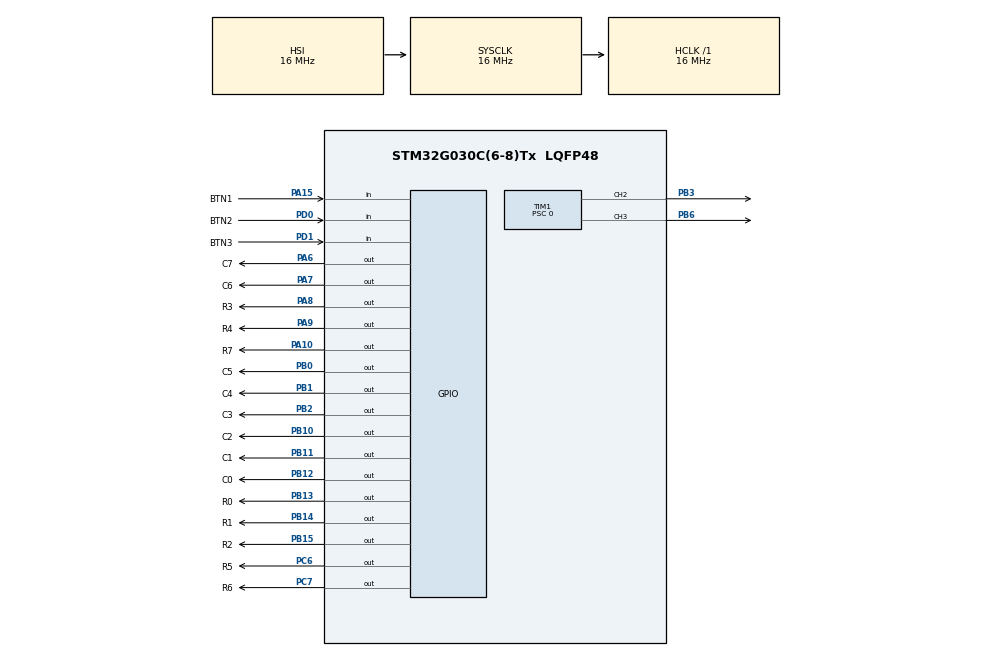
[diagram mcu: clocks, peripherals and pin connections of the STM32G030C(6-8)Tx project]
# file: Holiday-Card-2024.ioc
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ADC1.Channel-0\#ChannelRegularConversion=ADC_CHANNEL_VREFINT
ADC1.NbrOfConversionFlag=1
ADC1.Rank-0\#ChannelRegularConversion=1
ADC1.SamplingTime-0\#ChannelRegularConversion=ADC_SAMPLINGTIME_COMMON_1
ADC1.SamplingTimeCommon1=ADC_SAMPLETIME_39CYCLES_5
ADC1.SamplingTimeCommon2=ADC_SAMPLETIME_39CYCLES_5
ADC1.SelectedChannel=ADC_CHANNEL_VREFINT
ADC1.master=1
Mcu.Family=STM32G0
Mcu.Name=STM32G030C(6-8)Tx
Mcu.Package=LQFP48
NVIC.ADC1_IRQn=true\:0\:0\:false\:false\:true\:true\:true\:true
NVIC.TIM14_IRQn=true\:0\:0\:false\:false\:true\:true\:true\:true
NVIC.TIM16_IRQn=true\:0\:0\:false\:false\:true\:true\:true\:true
NVIC.TIM3_IRQn=true\:0\:0\:false\:false\:true\:true\:true\:true
PA10.GPIO_Label=R7
PA10.Signal=GPIO_Output
PA13.Mode=Serial_Wire
PA13.Signal=SYS_SWDIO
PA14-BOOT0.Mode=Serial_Wire
PA14-BOOT0.Signal=SYS_SWCLK
PA15.GPIO_Label=BTN1
PA15.Signal=GPIO_Input
PA4.GPIO_Label=BUZZ
PA4.Signal=S_TIM14_CH1
PA6.GPIO_Label=C7
PA6.Signal=GPIO_Output
PA7.GPIO_Label=C6
PA7.Signal=GPIO_Output
PA8.GPIO_Label=R3
PA8.Signal=GPIO_Output
PA9.GPIO_Label=R4
PA9.Signal=GPIO_Output
PB0.GPIO_Label=C5
PB0.Signal=GPIO_Output
PB1.GPIO_Label=C4
PB1.Signal=GPIO_Output
PB10.GPIO_Label=C2
PB10.Signal=GPIO_Output
PB11.GPIO_Label=C1
PB11.Signal=GPIO_Output
PB12.GPIO_Label=C0
PB12.Signal=GPIO_Output
PB13.GPIO_Label=R0
PB13.Signal=GPIO_Output
PB14.GPIO_Label=R1
PB14.Signal=GPIO_Output
PB15.GPIO_Label=R2
PB15.Signal=GPIO_Output
PB2.GPIO_Label=C3
PB2.Signal=GPIO_Output
PB3.Signal=S_TIM1_CH2
PB5.GPIO_Label=BTN2_WKUP
PB5.Mode=SYS_WakeUp6
PB5.Signal=SYS_WKUP6
PB6.Signal=S_TIM1_CH3
PC14-OSC32_IN\ (PC14).Mode=LSE-External-Oscillator
PC14-OSC32_IN\ (PC14).Signal=RCC_OSC32_IN
PC15-OSC32_OUT\ (PC15).Mode=LSE-External-Oscillator
PC15-OSC32_OUT\ (PC15).Signal=RCC_OSC32_OUT
PC6.GPIO_Label=R5
PC6.Signal=GPIO_Output
PC7.GPIO_Label=R6
PC7.Signal=GPIO_Output
PD0.GPIO_Label=BTN2
PD0.Signal=GPIO_Input
PD1.GPIO_Label=BTN3
PD1.Signal=GPIO_Input
ProjectManager.HeapSize=0x200
ProjectManager.StackSize=0x400
ProjectManager.TargetToolchain=STM32CubeIDE
RCC.ADCFreq_Value=16000000
RCC.AHBFreq_Value=16000000
RCC.CortexFreq_Value=16000000
RCC.EXTERNAL_CLOCK_VALUE=12288000
RCC.HCLKFreq_Value=16000000
RCC.HSE_VALUE=8000000
RCC.HSI_VALUE=16000000
RCC.RTCClockSelection=RCC_RTCCLKSOURCE_LSE
RCC.SYSCLKFreq_VALUE=16000000
RCC.VCOOutputFreq_Value=128000000
SH.S_TIM14_CH1.0=TIM14_CH1
SH.S_TIM1_CH2.0=TIM1_CH2,PWM Generation2 CH2
SH.S_TIM1_CH3.0=TIM1_CH3,PWM Generation3 CH3
TIM1.AutoReloadPreload=TIM_AUTORELOAD_PRELOAD_ENABLE
TIM1.Channel-PWM\ Generation2\ CH2=TIM_CHANNEL_2
TIM1.Channel-PWM\ Generation3\ CH3=TIM_CHANNEL_3
TIM1.OCMode_PWM-PWM\ Generation2\ CH2=TIM_OCMODE_PWM1
TIM1.OCPolarity_3=TIM_OCPOLARITY_LOW
TIM1.Period=4000
TIM1.Prescaler=0
TIM1.Pulse-PWM\ Generation2\ CH2=2000
TIM1.Pulse-PWM\ Generation3\ CH3=2000
TIM14.Channel=TIM_CHANNEL_1
TIM14.OCMode_1=TIM_OCMODE_TIMING
TIM14.Period=416 - 1
TIM14.Prescaler=1600 - 1
TIM16.Prescaler=16000 - 1
TIM3.Channel-Output\ Compare1\ No\ Output=TIM_CHANNEL_1
TIM3.Period=41 - 1
TIM3.Prescaler=16 - 1
VP_ADC1_Vref_Input.Mode=IN-Vrefint
VP_RTC_VS_RTC_Activate.Mode=RTC_Enabled
VP_RTC_VS_RTC_Calendar.Mode=RTC_Calendar
VP_TIM14_VS_ClockSourceINT.Mode=Enable_Timer
VP_TIM14_VS_no_output1.Mode=Output Compare1 No Output
VP_TIM16_VS_ClockSourceINT.Mode=Enable_Timer
VP_TIM1_VS_ClockSourceINT.Mode=Internal
VP_TIM3_VS_ClockSourceINT.Mode=Internal
VP_TIM3_VS_no_output1.Mode=Output Compare1 No Output
board=custom

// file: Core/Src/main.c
/* USER CODE BEGIN Header */
/**
  ******************************************************************************
  * @file           : main.c
  * @brief          : Main program body
  ******************************************************************************
  * @attention
  *
  * Copyright (c) 2024 STMicroelectronics.
  * All rights reserved.
  *
  * This software is licensed under terms that can be found in the LICENSE file
  * in the root directory of this software component.
  * If no LICENSE file comes with this software, it is provided AS-IS.
  *
  ******************************************************************************
  */
/* USER CODE END Header */
#include "main.h"

/* USER CODE BEGIN Includes */
#include "buzzer.h"
#include "display.h"
/* USER CODE END Includes */

/* USER CODE BEGIN PD */
#define NOTE_B0  31
#define NOTE_C1  33
#define NOTE_CS1 35
#define NOTE_D1  37
#define NOTE_DS1 39
#define NOTE_E1  41
#define NOTE_F1  44
#define NOTE_FS1 46
#define NOTE_G1  49
#define NOTE_GS1 52
#define NOTE_A1  55
#define NOTE_AS1 58
#define NOTE_B1  62
#define NOTE_C2  65
#define NOTE_CS2 69
#define NOTE_D2  73
#define NOTE_DS2 78
#define NOTE_E2  82
#define NOTE_F2  87
#define NOTE_FS2 93
#define NOTE_G2  98
#define NOTE_GS2 104
#define NOTE_A2  110
#define NOTE_AS2 117
#define NOTE_B2  123
#define NOTE_C3  131
#define NOTE_CS3 139
#define NOTE_D3  147
#define NOTE_DS3 156
#define NOTE_E3  165
#define NOTE_F3  175
#define NOTE_FS3 185
#define NOTE_G3  196
#define NOTE_GS3 208
#define NOTE_A3  220
#define NOTE_AS3 233
#define NOTE_B3  247
#define NOTE_C4  262
#define NOTE_CS4 277
#define NOTE_D4  294
#define NOTE_DS4 311
#define NOTE_E4  330
#define NOTE_F4  349
#define NOTE_FS4 370
#define NOTE_G4  392
#define NOTE_GS4 415
#define NOTE_A4  440
#define NOTE_AS4 466
#define NOTE_B4  494
#define NOTE_C5  523
#define NOTE_CS5 554
#define NOTE_D5  587
#define NOTE_DS5 622
#define NOTE_E5  659
#define NOTE_F5  698
#define NOTE_FS5 740
#define NOTE_G5  784
#define NOTE_GS5 831
#define NOTE_A5  880
#define NOTE_AS5 932
#define NOTE_B5  988
#define NOTE_C6  1047
#define NOTE_CS6 1109
#define NOTE_D6  1175
#define NOTE_DS6 1245
#define NOTE_E6  1319
#define NOTE_F6  1397
#define NOTE_FS6 1480
#define NOTE_G6  1568
#define NOTE_GS6 1661
#define NOTE_A6  1760
#define NOTE_AS6 1865
#define NOTE_B6  1976
#define NOTE_C7  2093
#define NOTE_CS7 2217
#define NOTE_D7  2349
#define NOTE_DS7 2489
#define NOTE_E7  2637
#define NOTE_F7  2794
#define NOTE_FS7 2960
#define NOTE_G7  3136
#define NOTE_GS7 3322
#define NOTE_A7  3520
#define NOTE_AS7 3729
#define NOTE_B7  3951
#define NOTE_C8  4186
#define NOTE_CS8 4435
#define NOTE_D8  4699
#define NOTE_DS8 4978

//#define noteSpace 24
//#define noteSpace2 12
//#define _16thNote 110
//#define dotted16th 165
//#define _8thNote 220
//#define dotted8th 330
#define _4thNote 440
#define dotted4th 660
#define halfNote 880
#define dottedHalf 1320
#define wholeNote 1760

#define noteSpace 12
#define noteSpace2 6
#define _16thNote 55
#define dotted16th 83
#define _8thNote 110
#define dotted8th 165

/* USER CODE END PD */

ADC_HandleTypeDef hadc1;

RTC_HandleTypeDef hrtc;

TIM_HandleTypeDef htim1;
TIM_HandleTypeDef htim3;
TIM_HandleTypeDef htim14;
TIM_HandleTypeDef htim16;

void SystemClock_Config(void);
static void MX_GPIO_Init(void);
static void MX_RTC_Init(void);
static void MX_TIM14_Init(void);
static void MX_TIM16_Init(void);
static void MX_TIM1_Init(void);
static void MX_ADC1_Init(void);
static void MX_TIM3_Init(void);
/* USER CODE BEGIN PFP */
void writeLED(uint8_t LED, uint8_t state);
/* USER CODE END PFP */

/* USER CODE BEGIN 0 */

uint8_t LED_index = 0;

//static const uint8_t smiley[64] = {
//0, 0, 0, 0, 0, 0, 0, 0,
//0, 0, 1, 0, 0, 1, 0, 0,
//0, 0, 1, 0, 0, 1, 0, 0,
//0, 0, 0, 0, 0, 0, 0, 0,
//0, 0, 0, 0, 0, 0, 0, 0,
//1, 0, 0, 0, 0, 0, 0, 1,
//0, 1, 1, 1, 1, 1, 1, 0,
//0, 0, 0, 0, 0, 0, 0, 0
//};
//

//Easy way to see if data being processed properly
static const uint32_t rows_test[8] = {
0xFFFFFFFF,
0x0,
0xFFFFFFFF,
0x0,
0xFFFFFFFF,
0x0,
0xFFFFFFFF,
0x0,
};

//static const uint32_t cross_test[64] = {
//1, 0, 0, 0, 0, 0, 0, 1,
//0, 1, 0, 0, 0, 0, 1, 0,
//0, 0, 1, 0, 0, 1, 0, 0,
//0, 0, 0, 1, 1, 0, 0, 0,
//0, 0, 0, 1, 1, 0, 0, 0,
//0, 0, 1, 0, 0, 1, 0, 0,
//0, 1, 0, 0, 0, 0, 1, 0,
//1, 0, 0, 0, 0, 0, 0, 1
//};
//
//static const uint8_t all_on[64] = {
//1, 1, 1, 1, 1, 1, 1, 1,
//1, 1, 1, 1, 1, 1, 1, 1,
//1, 1, 1, 1, 1, 1, 1, 1,
//1, 1, 1, 1, 1, 1, 1, 1,
//1, 1, 1, 1, 1, 1, 1, 1,
//1, 1, 1, 1, 1, 1, 1, 1,
//1, 1, 1, 1, 1, 1, 1, 1,
//1, 1, 1, 1, 1, 1, 1, 1
//};

display_HandleTypeDef display;
buzzer_HandleTypeDef buzzer;
//2D array, frequency and duration

uint16_t darude_bassline[][2] = {
		{ NOTE_B2, dotted8th }, { 0, dotted8th + noteSpace },
		{ NOTE_B2, dotted8th }, { 0, dotted8th + noteSpace },
		{ NOTE_B2, _8thNote }, { 0, _8thNote + noteSpace },
		{ NOTE_B2, dotted8th}, { 0, dotted8th + noteSpace },
		{ NOTE_B2, dotted8th}, { 0, dotted8th + noteSpace },
		{ NOTE_E3, _8thNote }, { 0, _8thNote + noteSpace},
		{ NOTE_E3, dotted8th }, { 0, dotted8th + noteSpace },
		{ NOTE_E3, dotted8th }, { 0, dotted8th + noteSpace },
		{ NOTE_D3, _8thNote }, { 0, _8thNote + noteSpace},
		{ NOTE_D3, dotted8th }, { 0, dotted8th + noteSpace},
		{ NOTE_D3, dotted8th }, { 0, dotted8th + noteSpace},
		{ NOTE_A2, _8thNote }, { 0, _8thNote + noteSpace},
		{ NOTE_B2, dotted8th }, { 0, dotted8th + noteSpace},
		{ NOTE_B2, dotted8th }, { 0, dotted8th + noteSpace},
		{ NOTE_B2, _8thNote }, { 0, _8thNote + noteSpace},
		{ NOTE_B2, dotted8th }, { 0, dotted8th + noteSpace},
		{ NOTE_B2, dotted8th }, { 0, dotted8th + noteSpace},
		{ NOTE_E3, _8thNote }, { 0, _8thNote + noteSpace},
		{ NOTE_B2, dotted8th }, { 0, dotted8th + noteSpace},
		{ NOTE_B2, dotted8th }, { 0, dotted8th + noteSpace},
		{ NOTE_B2, _8thNote }, { 0, _8thNote + noteSpace},
		{ NOTE_B2, dotted8th }, { 0, dotted8th + noteSpace},
		{ NOTE_B2, dotted8th }, { 0, dotted8th + noteSpace},
		{ NOTE_D4, _8thNote }, { 0, _8thNote + noteSpace},
};

uint16_t darude_drop[][2] = {
		{ NOTE_B4, _16thNote }, { 0, _16thNote + noteSpace2 },
		{ NOTE_B4, _16thNote }, { 0, _16thNote + noteSpace2 },
		{ NOTE_B4, _16thNote }, { 0, _16thNote + noteSpace2 },
		{ NOTE_B4, _16thNote }, { 0, _16thNote + noteSpace2 },
		{ NOTE_B4, _8thNote}, { 0, _8thNote + noteSpace2 },
		{ NOTE_B2, _8thNote}, { 0, _8thNote + noteSpace },
		{ NOTE_B2, dotted8th }, { 0, dotted8th + noteSpace},
		{ NOTE_B2, dotted8th }, { 0, dotted8th + noteSpace},
		{ NOTE_E3, _8thNote }, { 0, _8thNote + noteSpace },
		{ NOTE_E3, dotted8th }, { 0, dotted8th + noteSpace},
		{ NOTE_E3, dotted8th }, { 0, dotted8th + noteSpace},
		{ NOTE_D3, _8thNote }, { 0, _8thNote + noteSpace},
		{ NOTE_D3, dotted8th }, { 0, dotted8th + noteSpace},
		{ NOTE_D3, dotted8th }, { 0, dotted8th + noteSpace},
		{ NOTE_A2, _8thNote }, { 0, _8thNote + noteSpace},
};
/*

tone(7,nA2,_8thNote);
delay(_8thNote + noteSpace);
*/

/* USER CODE END 0 */

int main(void)
{

  /* MCU Configuration--------------------------------------------------------*/

  /* Reset of all peripherals, Initializes the Flash interface and the Systick. */
  HAL_Init();

  /* Configure the system clock */
  SystemClock_Config();

  /* Initialize all configured peripherals */
  MX_GPIO_Init();
  MX_RTC_Init();
  MX_TIM14_Init();
  MX_TIM16_Init();
  MX_TIM1_Init();
  MX_ADC1_Init();
  MX_TIM3_Init();
  /* USER CODE BEGIN 2 */
  HAL_GPIO_WritePin(R0_GPIO_Port, R0_Pin, 1);
  HAL_GPIO_WritePin(R1_GPIO_Port, R1_Pin, 1);
  HAL_GPIO_WritePin(R2_GPIO_Port, R2_Pin, 1);
  HAL_GPIO_WritePin(R3_GPIO_Port, R3_Pin, 1);
  HAL_GPIO_WritePin(R4_GPIO_Port, R4_Pin, 1);
  HAL_GPIO_WritePin(R5_GPIO_Port, R5_Pin, 1);
  HAL_GPIO_WritePin(R6_GPIO_Port, R6_Pin, 1);
  HAL_GPIO_WritePin(R7_GPIO_Port, R7_Pin, 1);

  HAL_GPIO_WritePin(C0_GPIO_Port, C0_Pin, 0);
  HAL_GPIO_WritePin(C1_GPIO_Port, C1_Pin, 0);
  HAL_GPIO_WritePin(C2_GPIO_Port, C2_Pin, 0);
  HAL_GPIO_WritePin(C3_GPIO_Port, C3_Pin, 0);
  HAL_GPIO_WritePin(C4_GPIO_Port, C4_Pin, 0);
  HAL_GPIO_WritePin(C5_GPIO_Port, C5_Pin, 0);
  HAL_GPIO_WritePin(C6_GPIO_Port, C6_Pin, 0);
  HAL_GPIO_WritePin(C7_GPIO_Port, C7_Pin, 0);

	// Always calibrate ADC first
	HAL_ADCEx_Calibration_Start(&hadc1);

	// Start the conversion sequence
	HAL_ADC_Start(&hadc1);
	HAL_ADC_PollForConversion(&hadc1, 0xFFFF);
	//uint32_t vrefint_raw = HAL_ADC_GetValue(&hadc1);

	/*
	 * This macro calculates the vdda voltage (as a uint32_t representing the voltage in milliVolts)
	 * using the vref internal raw adc value, and the internal calibration value in ROM
	 */
//	uint32_t vdda_voltage = __HAL_ADC_CALC_VREFANALOG_VOLTAGE(vrefint_raw, ADC_RESOLUTION_12B);
//	__NOP();

	display_init(&display, &htim3, TIM_CHANNEL_1,  &htim14, TIM_CHANNEL_1);

//	buzzer_init(&buzzer, &htim1, TIM_CHANNEL_2, TIM_CHANNEL_3, &htim16);
//	buzzer.melody = darude_drop;
//	buzzer.melody_length = sizeof(darude_drop) / sizeof(darude_drop[0]);
//	buzzer_play_melody(&buzzer, 2);
	//Working pretty well, but there is a time delay between loops of a melody, Need to figure out why
	//Maybe record audio of correct loop and compare to bad loop to see difference

  /* USER CODE END 2 */

  /* Infinite loop */
  /* USER CODE BEGIN WHILE */
  while (1)
  {

//	  if (btn1_val == 0){
//		  btn1_val = 1;
//	  }
//	  else {
//		  btn1_val = 0;
//	  }
//	  //HAL_Delay(1000);
//
//
////	  uint8_t btn1_val = HAL_GPIO_ReadPin(BTN1_GPIO_Port, BTN1_Pin);
//	  uint8_t btn2_val = HAL_GPIO_ReadPin(BTN2_GPIO_Port, BTN2_Pin);
//	  uint8_t btn3_val = HAL_GPIO_ReadPin(BTN3_GPIO_Port, BTN3_Pin);
//
//	  //btn1_val = 0;
//	  if (btn1_val == 0) {
//
//		  for (uint8_t i = 0; i < 64; i++){
//			  writeLED(i, all_on[i]);
//			  //HAL_Delay(1);
//		  }
//		  writeLED(0, 0);	//clear the last drawn pixel
//	  }
//
//	  else {
//		  for (uint8_t i = 0; i < 64; i++){
//			  writeLED(i, cross_test[i]);
//			  //HAL_Delay(1);
//		  }
//		  writeLED(0, 0);	//clear the last drawn pixel
//	  }
//
////	  if (btn2_val == 0) {
////
////		  for (uint8_t i = 0; i < 64; i++){
////			  writeLED(i, cross_test[i]);
////			  //HAL_Delay(1);
////		  }
////		  writeLED(0, 0);	//clear the last drawn pixel
////	  }
////
////	  if (btn3_val == 0) {
////
////		  for (uint8_t i = 0; i < 64; i++){
////			  writeLED(i, smiley[i]);
////			  //HAL_Delay(1);
////		  }
////		  writeLED(0, 0);	//clear the last drawn pixel
////	  }

    /* USER CODE END WHILE */

  }
}

void SystemClock_Config(void)
{
  RCC_OscInitTypeDef RCC_OscInitStruct = {0};
  RCC_ClkInitTypeDef RCC_ClkInitStruct = {0};

  /** Configure the main internal regulator output voltage
  */
  HAL_PWREx_ControlVoltageScaling(PWR_REGULATOR_VOLTAGE_SCALE1);

  /** Configure LSE Drive Capability
  */
  HAL_PWR_EnableBkUpAccess();
  __HAL_RCC_LSEDRIVE_CONFIG(RCC_LSEDRIVE_LOW);

  /** Initializes the RCC Oscillators according to the specified parameters
  * in the RCC_OscInitTypeDef structure.
  */
  RCC_OscInitStruct.OscillatorType = RCC_OSCILLATORTYPE_HSI|RCC_OSCILLATORTYPE_LSE;
  RCC_OscInitStruct.LSEState = RCC_LSE_ON;
  RCC_OscInitStruct.HSIState = RCC_HSI_ON;
  RCC_OscInitStruct.HSIDiv = RCC_HSI_DIV1;
  RCC_OscInitStruct.HSICalibrationValue = RCC_HSICALIBRATION_DEFAULT;
  RCC_OscInitStruct.PLL.PLLState = RCC_PLL_NONE;
  if (HAL_RCC_OscConfig(&RCC_OscInitStruct) != HAL_OK)
  {
    Error_Handler();
  }

  /** Initializes the CPU, AHB and APB buses clocks
  */
  RCC_ClkInitStruct.ClockType = RCC_CLOCKTYPE_HCLK|RCC_CLOCKTYPE_SYSCLK
                              |RCC_CLOCKTYPE_PCLK1;
  RCC_ClkInitStruct.SYSCLKSource = RCC_SYSCLKSOURCE_HSI;
  RCC_ClkInitStruct.AHBCLKDivider = RCC_SYSCLK_DIV1;
  RCC_ClkInitStruct.APB1CLKDivider = RCC_HCLK_DIV1;

  if (HAL_RCC_ClockConfig(&RCC_ClkInitStruct, FLASH_LATENCY_0) != HAL_OK)
  {
    Error_Handler();
  }
}

static void MX_ADC1_Init(void)
{

  ADC_ChannelConfTypeDef sConfig = {0};

  /** Configure the global features of the ADC (Clock, Resolution, Data Alignment and number of conversion)
  */
  hadc1.Instance = ADC1;
  hadc1.Init.ClockPrescaler = ADC_CLOCK_SYNC_PCLK_DIV2;
  hadc1.Init.Resolution = ADC_RESOLUTION_12B;
  hadc1.Init.DataAlign = ADC_DATAALIGN_RIGHT;
  hadc1.Init.ScanConvMode = ADC_SCAN_DISABLE;
  hadc1.Init.EOCSelection = ADC_EOC_SINGLE_CONV;
  hadc1.Init.LowPowerAutoWait = DISABLE;
  hadc1.Init.LowPowerAutoPowerOff = DISABLE;
  hadc1.Init.ContinuousConvMode = DISABLE;
  hadc1.Init.NbrOfConversion = 1;
  hadc1.Init.DiscontinuousConvMode = DISABLE;
  hadc1.Init.ExternalTrigConv = ADC_SOFTWARE_START;
  hadc1.Init.ExternalTrigConvEdge = ADC_EXTERNALTRIGCONVEDGE_NONE;
  hadc1.Init.DMAContinuousRequests = DISABLE;
  hadc1.Init.Overrun = ADC_OVR_DATA_PRESERVED;
  hadc1.Init.SamplingTimeCommon1 = ADC_SAMPLETIME_39CYCLES_5;
  hadc1.Init.SamplingTimeCommon2 = ADC_SAMPLETIME_39CYCLES_5;
  hadc1.Init.OversamplingMode = DISABLE;
  hadc1.Init.TriggerFrequencyMode = ADC_TRIGGER_FREQ_HIGH;
  if (HAL_ADC_Init(&hadc1) != HAL_OK)
  {
    Error_Handler();
  }

  /** Configure Regular Channel
  */
  sConfig.Channel = ADC_CHANNEL_VREFINT;
  sConfig.Rank = ADC_REGULAR_RANK_1;
  sConfig.SamplingTime = ADC_SAMPLINGTIME_COMMON_1;
  if (HAL_ADC_ConfigChannel(&hadc1, &sConfig) != HAL_OK)
  {
    Error_Handler();
  }

}

static void MX_RTC_Init(void)
{

  RTC_TimeTypeDef sTime = {0};
  RTC_DateTypeDef sDate = {0};

  /** Initialize RTC Only
  */
  hrtc.Instance = RTC;
  hrtc.Init.HourFormat = RTC_HOURFORMAT_24;
  hrtc.Init.AsynchPrediv = 127;
  hrtc.Init.SynchPrediv = 255;
  hrtc.Init.OutPut = RTC_OUTPUT_DISABLE;
  hrtc.Init.OutPutRemap = RTC_OUTPUT_REMAP_NONE;
  hrtc.Init.OutPutPolarity = RTC_OUTPUT_POLARITY_HIGH;
  hrtc.Init.OutPutType = RTC_OUTPUT_TYPE_OPENDRAIN;
  hrtc.Init.OutPutPullUp = RTC_OUTPUT_PULLUP_NONE;
  if (HAL_RTC_Init(&hrtc) != HAL_OK)
  {
    Error_Handler();
  }

  /** Initialize RTC and set the Time and Date
  */
  sTime.Hours = 0x0;
  sTime.Minutes = 0x0;
  sTime.Seconds = 0x0;
  sTime.SubSeconds = 0x0;
  sTime.DayLightSaving = RTC_DAYLIGHTSAVING_NONE;
  sTime.StoreOperation = RTC_STOREOPERATION_RESET;
  if (HAL_RTC_SetTime(&hrtc, &sTime, RTC_FORMAT_BCD) != HAL_OK)
  {
    Error_Handler();
  }
  sDate.WeekDay = RTC_WEEKDAY_MONDAY;
  sDate.Month = RTC_MONTH_JANUARY;
  sDate.Date = 0x1;
  sDate.Year = 0x0;

  if (HAL_RTC_SetDate(&hrtc, &sDate, RTC_FORMAT_BCD) != HAL_OK)
  {
    Error_Handler();
  }

}

static void MX_TIM1_Init(void)
{

  TIM_ClockConfigTypeDef sClockSourceConfig = {0};
  TIM_MasterConfigTypeDef sMasterConfig = {0};
  TIM_OC_InitTypeDef sConfigOC = {0};
  TIM_BreakDeadTimeConfigTypeDef sBreakDeadTimeConfig = {0};

  htim1.Instance = TIM1;
  htim1.Init.Prescaler = 0;
  htim1.Init.CounterMode = TIM_COUNTERMODE_UP;
  htim1.Init.Period = 4000;
  htim1.Init.ClockDivision = TIM_CLOCKDIVISION_DIV1;
  htim1.Init.RepetitionCounter = 0;
  htim1.Init.AutoReloadPreload = TIM_AUTORELOAD_PRELOAD_ENABLE;
  if (HAL_TIM_Base_Init(&htim1) != HAL_OK)
  {
    Error_Handler();
  }
  sClockSourceConfig.ClockSource = TIM_CLOCKSOURCE_INTERNAL;
  if (HAL_TIM_ConfigClockSource(&htim1, &sClockSourceConfig) != HAL_OK)
  {
    Error_Handler();
  }
  if (HAL_TIM_PWM_Init(&htim1) != HAL_OK)
  {
    Error_Handler();
  }
  sMasterConfig.MasterOutputTrigger = TIM_TRGO_RESET;
  sMasterConfig.MasterOutputTrigger2 = TIM_TRGO2_RESET;
  sMasterConfig.MasterSlaveMode = TIM_MASTERSLAVEMODE_DISABLE;
  if (HAL_TIMEx_MasterConfigSynchronization(&htim1, &sMasterConfig) != HAL_OK)
  {
    Error_Handler();
  }
  sConfigOC.OCMode = TIM_OCMODE_PWM1;
  sConfigOC.Pulse = 2000;
  sConfigOC.OCPolarity = TIM_OCPOLARITY_HIGH;
  sConfigOC.OCNPolarity = TIM_OCNPOLARITY_HIGH;
  sConfigOC.OCFastMode = TIM_OCFAST_DISABLE;
  sConfigOC.OCIdleState = TIM_OCIDLESTATE_RESET;
  sConfigOC.OCNIdleState = TIM_OCNIDLESTATE_RESET;
  if (HAL_TIM_PWM_ConfigChannel(&htim1, &sConfigOC, TIM_CHANNEL_2) != HAL_OK)
  {
    Error_Handler();
  }
  sConfigOC.OCPolarity = TIM_OCPOLARITY_LOW;
  if (HAL_TIM_PWM_ConfigChannel(&htim1, &sConfigOC, TIM_CHANNEL_3) != HAL_OK)
  {
    Error_Handler();
  }
  sBreakDeadTimeConfig.OffStateRunMode = TIM_OSSR_DISABLE;
  sBreakDeadTimeConfig.OffStateIDLEMode = TIM_OSSI_DISABLE;
  sBreakDeadTimeConfig.LockLevel = TIM_LOCKLEVEL_OFF;
  sBreakDeadTimeConfig.DeadTime = 0;
  sBreakDeadTimeConfig.BreakState = TIM_BREAK_DISABLE;
  sBreakDeadTimeConfig.BreakPolarity = TIM_BREAKPOLARITY_HIGH;
  sBreakDeadTimeConfig.BreakFilter = 0;
  sBreakDeadTimeConfig.BreakAFMode = TIM_BREAK_AFMODE_INPUT;
  sBreakDeadTimeConfig.Break2State = TIM_BREAK2_DISABLE;
  sBreakDeadTimeConfig.Break2Polarity = TIM_BREAK2POLARITY_HIGH;
  sBreakDeadTimeConfig.Break2Filter = 0;
  sBreakDeadTimeConfig.Break2AFMode = TIM_BREAK_AFMODE_INPUT;
  sBreakDeadTimeConfig.AutomaticOutput = TIM_AUTOMATICOUTPUT_DISABLE;
  if (HAL_TIMEx_ConfigBreakDeadTime(&htim1, &sBreakDeadTimeConfig) != HAL_OK)
  {
    Error_Handler();
  }
  HAL_TIM_MspPostInit(&htim1);

}

static void MX_TIM3_Init(void)
{

  TIM_ClockConfigTypeDef sClockSourceConfig = {0};
  TIM_MasterConfigTypeDef sMasterConfig = {0};
  TIM_OC_InitTypeDef sConfigOC = {0};

  htim3.Instance = TIM3;
  htim3.Init.Prescaler = 16 - 1;
  htim3.Init.CounterMode = TIM_COUNTERMODE_UP;
  htim3.Init.Period = 41 - 1;
  htim3.Init.ClockDivision = TIM_CLOCKDIVISION_DIV1;
  htim3.Init.AutoReloadPreload = TIM_AUTORELOAD_PRELOAD_DISABLE;
  if (HAL_TIM_Base_Init(&htim3) != HAL_OK)
  {
    Error_Handler();
  }
  sClockSourceConfig.ClockSource = TIM_CLOCKSOURCE_INTERNAL;
  if (HAL_TIM_ConfigClockSource(&htim3, &sClockSourceConfig) != HAL_OK)
  {
    Error_Handler();
  }
  if (HAL_TIM_OC_Init(&htim3) != HAL_OK)
  {
    Error_Handler();
  }
  sMasterConfig.MasterOutputTrigger = TIM_TRGO_RESET;
  sMasterConfig.MasterSlaveMode = TIM_MASTERSLAVEMODE_DISABLE;
  if (HAL_TIMEx_MasterConfigSynchronization(&htim3, &sMasterConfig) != HAL_OK)
  {
    Error_Handler();
  }
  sConfigOC.OCMode = TIM_OCMODE_TIMING;
  sConfigOC.Pulse = 0;
  sConfigOC.OCPolarity = TIM_OCPOLARITY_HIGH;
  sConfigOC.OCFastMode = TIM_OCFAST_DISABLE;
  if (HAL_TIM_OC_ConfigChannel(&htim3, &sConfigOC, TIM_CHANNEL_1) != HAL_OK)
  {
    Error_Handler();
  }

}

static void MX_TIM14_Init(void)
{

  TIM_OC_InitTypeDef sConfigOC = {0};

  htim14.Instance = TIM14;
  htim14.Init.Prescaler = 1600 - 1;
  htim14.Init.CounterMode = TIM_COUNTERMODE_UP;
  htim14.Init.Period = 416 - 1;
  htim14.Init.ClockDivision = TIM_CLOCKDIVISION_DIV1;
  htim14.Init.AutoReloadPreload = TIM_AUTORELOAD_PRELOAD_DISABLE;
  if (HAL_TIM_Base_Init(&htim14) != HAL_OK)
  {
    Error_Handler();
  }
  if (HAL_TIM_OC_Init(&htim14) != HAL_OK)
  {
    Error_Handler();
  }
  sConfigOC.OCMode = TIM_OCMODE_TIMING;
  sConfigOC.Pulse = 0;
  sConfigOC.OCPolarity = TIM_OCPOLARITY_HIGH;
  sConfigOC.OCFastMode = TIM_OCFAST_DISABLE;
  if (HAL_TIM_OC_ConfigChannel(&htim14, &sConfigOC, TIM_CHANNEL_1) != HAL_OK)
  {
    Error_Handler();
  }

}

static void MX_TIM16_Init(void)
{

  htim16.Instance = TIM16;
  htim16.Init.Prescaler = 16000 - 1;
  htim16.Init.CounterMode = TIM_COUNTERMODE_UP;
  htim16.Init.Period = 65535;
  htim16.Init.ClockDivision = TIM_CLOCKDIVISION_DIV1;
  htim16.Init.RepetitionCounter = 0;
  htim16.Init.AutoReloadPreload = TIM_AUTORELOAD_PRELOAD_DISABLE;
  if (HAL_TIM_Base_Init(&htim16) != HAL_OK)
  {
    Error_Handler();
  }

}

static void MX_GPIO_Init(void)
{
  GPIO_InitTypeDef GPIO_InitStruct = {0};

  /* GPIO Ports Clock Enable */
  __HAL_RCC_GPIOC_CLK_ENABLE();
  __HAL_RCC_GPIOA_CLK_ENABLE();
  __HAL_RCC_GPIOB_CLK_ENABLE();
  __HAL_RCC_GPIOD_CLK_ENABLE();

  /*Configure GPIO pin Output Level */
  HAL_GPIO_WritePin(GPIOA, C7_Pin|C6_Pin|R3_Pin|R4_Pin
                          |R7_Pin, GPIO_PIN_RESET);

  /*Configure GPIO pin Output Level */
  HAL_GPIO_WritePin(GPIOB, C5_Pin|C4_Pin|C3_Pin|C2_Pin
                          |C1_Pin|C0_Pin|R0_Pin|R1_Pin
                          |R2_Pin, GPIO_PIN_RESET);

  /*Configure GPIO pin Output Level */
  HAL_GPIO_WritePin(GPIOC, R5_Pin|R6_Pin, GPIO_PIN_RESET);

  /*Configure GPIO pins : C7_Pin C6_Pin R3_Pin R4_Pin
                           R7_Pin */
  GPIO_InitStruct.Pin = C7_Pin|C6_Pin|R3_Pin|R4_Pin
                          |R7_Pin;
  GPIO_InitStruct.Mode = GPIO_MODE_OUTPUT_PP;
  GPIO_InitStruct.Pull = GPIO_NOPULL;
  GPIO_InitStruct.Speed = GPIO_SPEED_FREQ_LOW;
  HAL_GPIO_Init(GPIOA, &GPIO_InitStruct);

  /*Configure GPIO pins : C5_Pin C4_Pin C3_Pin C2_Pin
                           C1_Pin C0_Pin R0_Pin R1_Pin
                           R2_Pin */
  GPIO_InitStruct.Pin = C5_Pin|C4_Pin|C3_Pin|C2_Pin
                          |C1_Pin|C0_Pin|R0_Pin|R1_Pin
                          |R2_Pin;
  GPIO_InitStruct.Mode = GPIO_MODE_OUTPUT_PP;
  GPIO_InitStruct.Pull = GPIO_NOPULL;
  GPIO_InitStruct.Speed = GPIO_SPEED_FREQ_LOW;
  HAL_GPIO_Init(GPIOB, &GPIO_InitStruct);

  /*Configure GPIO pins : R5_Pin R6_Pin */
  GPIO_InitStruct.Pin = R5_Pin|R6_Pin;
  GPIO_InitStruct.Mode = GPIO_MODE_OUTPUT_PP;
  GPIO_InitStruct.Pull = GPIO_NOPULL;
  GPIO_InitStruct.Speed = GPIO_SPEED_FREQ_LOW;
  HAL_GPIO_Init(GPIOC, &GPIO_InitStruct);

  /*Configure GPIO pin : BTN1_Pin */
  GPIO_InitStruct.Pin = BTN1_Pin;
  GPIO_InitStruct.Mode = GPIO_MODE_INPUT;
  GPIO_InitStruct.Pull = GPIO_NOPULL;
  HAL_GPIO_Init(BTN1_GPIO_Port, &GPIO_InitStruct);

  /*Configure GPIO pins : BTN2_Pin BTN3_Pin */
  GPIO_InitStruct.Pin = BTN2_Pin|BTN3_Pin;
  GPIO_InitStruct.Mode = GPIO_MODE_INPUT;
  GPIO_InitStruct.Pull = GPIO_NOPULL;
  HAL_GPIO_Init(GPIOD, &GPIO_InitStruct);

}

/* USER CODE BEGIN 4 */

void HAL_TIM_PeriodElapsedCallback(TIM_HandleTypeDef *htim) {

	if (htim == buzzer.interrupt_timer) {
		buzzer_interrupt(&buzzer);
	}

	else if (htim == display.frame_timer){
		frame_interrupt(&display);
	}

//	else if (htim == display.multiplex_timer){
//		multiplex_interrupt(&display);
//	}
}

void writeLED(uint8_t LED, uint8_t state){

	uint8_t row = LED/8;	//Find row, discard decimal part
	uint8_t col = LED%8;	//Find column

	__NOP();

	//clear the last drawn pixel
	HAL_GPIO_WritePin(R0_GPIO_Port, R0_Pin, 1);
	HAL_GPIO_WritePin(R1_GPIO_Port, R1_Pin, 1);
	HAL_GPIO_WritePin(R2_GPIO_Port, R2_Pin, 1);
	HAL_GPIO_WritePin(R3_GPIO_Port, R3_Pin, 1);
	HAL_GPIO_WritePin(R4_GPIO_Port, R4_Pin, 1);
	HAL_GPIO_WritePin(R5_GPIO_Port, R5_Pin, 1);
	HAL_GPIO_WritePin(R6_GPIO_Port, R6_Pin, 1);
	HAL_GPIO_WritePin(R7_GPIO_Port, R7_Pin, 1);
	HAL_GPIO_WritePin(C0_GPIO_Port, C0_Pin, 0);
	HAL_GPIO_WritePin(C1_GPIO_Port, C1_Pin, 0);
	HAL_GPIO_WritePin(C2_GPIO_Port, C2_Pin, 0);
	HAL_GPIO_WritePin(C3_GPIO_Port, C3_Pin, 0);
	HAL_GPIO_WritePin(C4_GPIO_Port, C4_Pin, 0);
	HAL_GPIO_WritePin(C5_GPIO_Port, C5_Pin, 0);
	HAL_GPIO_WritePin(C6_GPIO_Port, C6_Pin, 0);
	HAL_GPIO_WritePin(C7_GPIO_Port, C7_Pin, 0);

	if (state == 1){

		switch (row){

		case 0:
			HAL_GPIO_WritePin(R0_GPIO_Port, R0_Pin, 0);
			break;
		case 1:
			HAL_GPIO_WritePin(R1_GPIO_Port, R1_Pin, 0);
			break;
		case 2:
			HAL_GPIO_WritePin(R2_GPIO_Port, R2_Pin, 0);
			break;
		case 3:
			HAL_GPIO_WritePin(R3_GPIO_Port, R3_Pin, 0);
			break;
		case 4:
			HAL_GPIO_WritePin(R4_GPIO_Port, R4_Pin, 0);
			break;
		case 5:
			HAL_GPIO_WritePin(R5_GPIO_Port, R5_Pin, 0);
			break;
		case 6:
			HAL_GPIO_WritePin(R6_GPIO_Port, R6_Pin, 0);
			break;
		case 7:
			HAL_GPIO_WritePin(R7_GPIO_Port, R7_Pin, 0);
			break;

		default:

		}

		switch (col){

		case 0:
			HAL_GPIO_WritePin(C0_GPIO_Port, C0_Pin, 1);
			break;
		case 1:
			HAL_GPIO_WritePin(C1_GPIO_Port, C1_Pin, 1);
			break;
		case 2:
			HAL_GPIO_WritePin(C2_GPIO_Port, C2_Pin, 1);
			break;
		case 3:
			HAL_GPIO_WritePin(C3_GPIO_Port, C3_Pin, 1);
			break;
		case 4:
			HAL_GPIO_WritePin(C4_GPIO_Port, C4_Pin, 1);
			break;
		case 5:
			HAL_GPIO_WritePin(C5_GPIO_Port, C5_Pin, 1);
			break;
		case 6:
			HAL_GPIO_WritePin(C6_GPIO_Port, C6_Pin, 1);
			break;
		case 7:
			HAL_GPIO_WritePin(C7_GPIO_Port, C7_Pin, 1);
			break;

		default:

		}
	}
	__NOP();
}

/* USER CODE END 4 */

void Error_Handler(void)
{
  __disable_irq();
  while (1)
  {
  }
}
